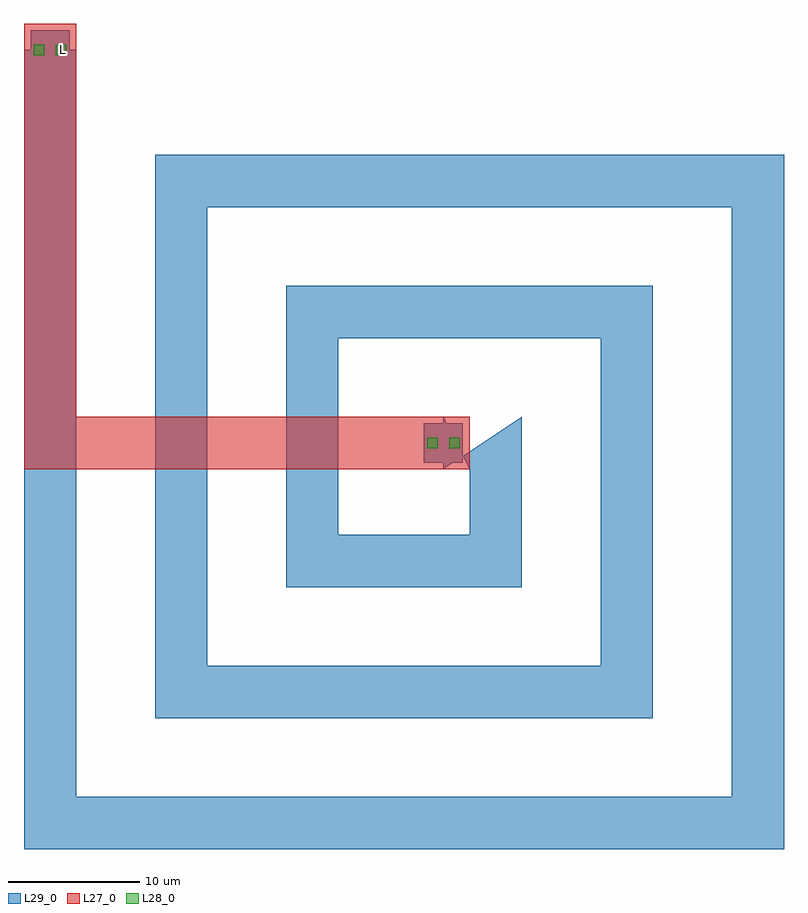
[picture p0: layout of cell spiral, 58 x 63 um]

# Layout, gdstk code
import gdstk
lib = gdstk.Library(unit=1e-6, precision=5e-10)
def R(c, l, rs):  # rectangles x0, y0, x1, y1
    for r in rs: c.add(gdstk.rectangle(r[:2], r[2:], *l))
def P(c, l, *ps):  # polygons
    for p in ps: c.add(gdstk.Polygon(p, *l))
L27_0 = (27, 0)
L28_0 = (28, 0)
L29_0 = (29, 0)

spiral = lib.new_cell('spiral')
R(spiral, L27_0, [(18,48,52,52), (18,48,22,82), (48.5,48.5,51.5,51.5), (18.5,78.5,21.5,81.5)])
R(spiral, L28_0, [(48.76,49.6,49.56,50.4), (50.44,49.6,51.24,50.4), (18.76,79.6,19.56,80.4), (20.44,79.6,21.24,80.4)])
R(spiral, L29_0, [(48.5,48.5,51.5,51.5), (18.5,78.5,21.5,81.5)])
P(spiral, L29_0, [(18,19),(18,80),(22,80),(22,23),(72,23),(72,68),(32,68),(32,33),(62,33),(62,58),(42,58),(42,43),(52,43),(52,48),(50,52),(50,48),(56,52),(56,39),(38,39),(38,62),(66,62),(66,29),(28,29),(28,72),(76,72),(76,19)])
spiral.add(gdstk.Label('L', (21,80), layer=29, texttype=0))

lib.write_gds('spiral.gds')
